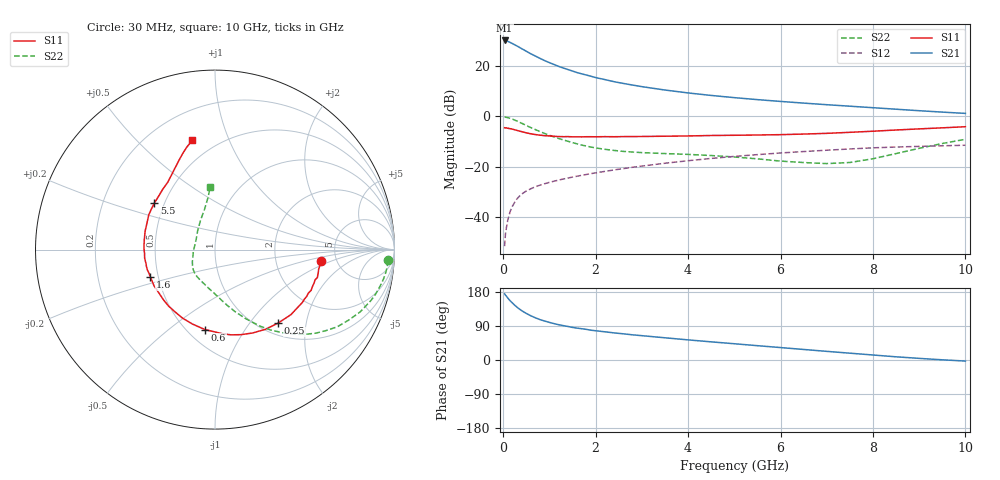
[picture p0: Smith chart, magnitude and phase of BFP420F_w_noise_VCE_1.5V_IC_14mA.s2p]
! Infineon Technologies  Discrete & RF Semiconductors
! BFP420F
! VCE =  1.5 V,  IC =  14 mA
! Common Emitter S-Parameters:  Sep 2011
# GHz  S  MA  R  50
!  f  S11  S21  S12  S22
! GHz  MAG  ANG  MAG  ANG  MAG  ANG  MAG  ANG
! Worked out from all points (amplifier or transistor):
!   54 points, 30 MHz to 10 GHz, reference 50 ohm
!   highest |S21| = 30.2 dB at 30 MHz (marker M1)
!   |S21| within 3 dB of that: start of sweep to 373.7 MHz
!   unconditionally stable (mu >= 1): 1.828 GHz to end of sweep
!   at 120 MHz: K = 0.20, MSG = 34.8 dB, |S12| = -39.9 dB
!   at 1.3 GHz: K = 0.85, MSG = 22.1 dB, |S12| = -25.0 dB
!   at 10 GHz: K = 1.25, MAG = 3.3 dB, |S12| = -11.5 dB
!   lowest NFmin = 1.34 dB at 450 MHz
!   S11 on the Smith chart (normalised r, x): 30 MHz: 3.76, -0.76; 250 MHz: 1.20, -1.39; 600 MHz: 0.61, -0.68; 1.6 GHz: 0.45, -0.16; 5.5 GHz: 0.44, +0.28; 10 GHz: 0.37, +0.74
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0.03  0.5936 -6.3  32.52 174.4  0.0026 91.0  0.9653 -3.6
0.05  0.5877 -10.7  32.07 170.8  0.0047 89.9  0.9631 -6.1
0.07  0.5911 -15.3  31.95 168.2  0.0062 84.7  0.9568 -8.7
0.12  0.5734 -25.2  30.69 160.3  0.0101 80.8  0.9323 -14.6
0.15  0.569 -31.1  29.68 156.3  0.0128 77.9  0.9145 -18.0
0.2  0.557 -40.6  28.17 150.3  0.0163 74.8  0.8805 -23.2
0.25  0.5394 -49.5  26.57 144.4  0.0196 72.0  0.8413 -27.9
0.3  0.525 -57.9  25.2 139.2  0.0229 69.1  0.8053 -32.3
0.4  0.496 -72.8  22.29 130.2  0.0282 64.8  0.7291 -39.7
0.5  0.4691 -85.5  19.78 122.9  0.0326 61.6  0.6586 -45.8
0.6  0.4491 -97.1  17.59 116.5  0.0363 59.5  0.5956 -51.0
0.8  0.4224 -115.4  14.23 106.4  0.0428 56.9  0.4962 -59.4
1  0.4073 -129.3  11.76 99.2  0.0485 55.9  0.4202 -66.1
1.2  0.3962 -140.5  9.9 93.1  0.0539 55.3  0.3631 -72.1
1.6  0.3911 -156.9  7.442 84.1  0.0644 55.0  0.2837 -82.8
1.7  0.3907 -160.1  7.024 82.5  0.067 55.0  0.2682 -85.3
2.4  0.3932 -177.1  4.902 71.5  0.0859 54.2  0.2098 -102.9
3.5  0.4027 165.0  3.347 58.6  0.1166 51.1  0.1816 -122.8
5.5  0.4257 142.4  2.156 37.8  0.1731 40.8  0.1427 -152.2
7  0.4592 124.8  1.709 22.8  0.2119 31.4  0.1147 166.8
8.5  0.5355 112.1  1.389 8.4  0.2452 20.8  0.1817 116.4
10  0.6221 101.7  1.146 -2.8  0.2663 11.8  0.3494 94.3
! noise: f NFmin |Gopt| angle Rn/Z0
0.45  1.34  0.08  173  0.11
0.9  1.34  0.09  161  0.13
1.9  1.47  0.19  177  0.19
2.4  1.53  0.19  -180  0.12
3.5  1.78  0.24  -164  0.17
